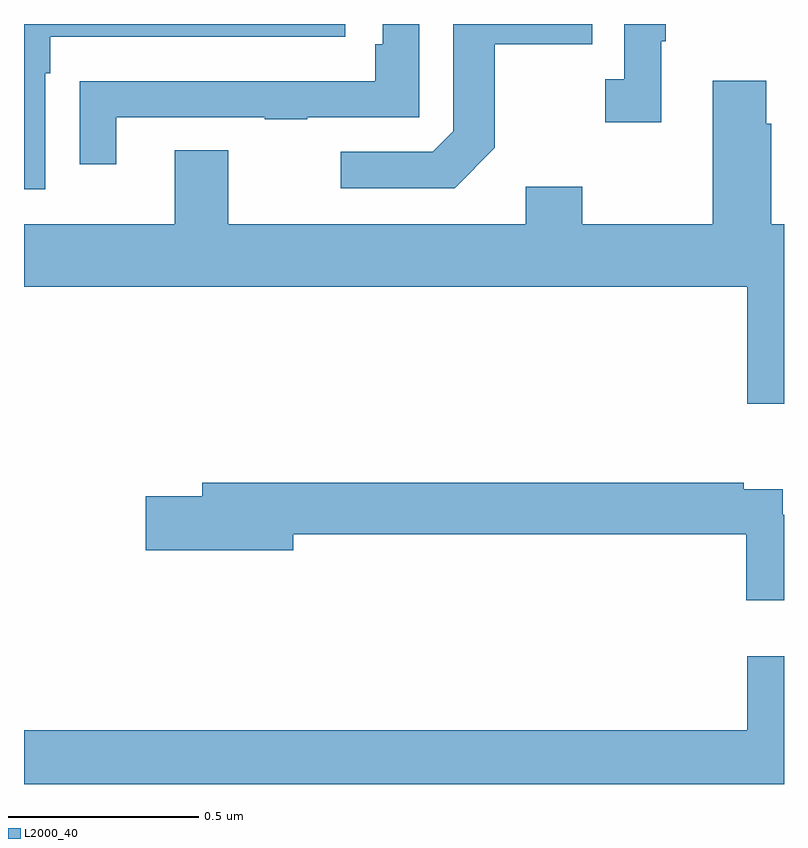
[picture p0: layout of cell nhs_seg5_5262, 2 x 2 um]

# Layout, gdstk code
import gdstk
lib = gdstk.Library(unit=1e-6, precision=1e-09)
def P(c, l, *ps):  # polygons
    for p in ps: c.add(gdstk.Polygon(p, *l))
L2000_40 = (2000, 40)

nhs_seg5_5262 = lib.new_cell('nhs_seg5_5262')
P(nhs_seg5_5262, L2000_40, [(182.239,842.473),(182.239,842.746),(182.495,842.746),(182.495,842.799),(182.13,842.799),(182.13,842.517),(182.076,842.463),(181.833,842.463),(181.833,842.367),(182.133,842.367)],
  [(181.243,842.553),(181.633,842.553),(181.633,842.548),(181.745,842.548),(181.745,842.553),(182.04,842.553),(182.04,842.799),(181.944,842.799),(181.944,842.746),(181.924,842.746),(181.924,842.649),(181.249,842.649),(181.249,842.648),(181.147,842.648),(181.147,842.43),(181.243,842.43)],
  [(181.056,842.669),(181.069,842.669),(181.069,842.766),(181.846,842.766),(181.846,842.799),(181,842.799),(181,842.364),(181.056,842.364)],
  [(182.677,842.753),(182.689,842.753),(182.689,842.799),(182.58,842.799),(182.58,842.654),(182.529,842.654),(182.529,842.541),(182.677,842.541)],
  [(183,842.272),(182.966,842.272),(182.966,842.537),(182.953,842.537),(182.953,842.65),(182.813,842.65),(182.813,842.272),(182.469,842.272),(182.469,842.371),(182.321,842.371),(182.321,842.272),(181.537,842.272),(181.537,842.467),(181.397,842.467),(181.397,842.272),(181,842.272),(181,842.108),(182.903,842.108),(182.903,841.8),(183,841.8)],
  [(183,841.507),(182.997,841.507),(182.997,841.575),(182.894,841.575),(182.894,841.592),(181.469,841.592),(181.469,841.556),(181.32,841.556),(181.32,841.414),(181.708,841.414),(181.708,841.456),(182.901,841.456),(182.901,841.283),(183,841.283)],
  [(183,841.135),(182.903,841.135),(182.903,840.94),(181,840.94),(181,840.799),(183,840.799)])

lib.write_gds('nhs_seg5_5262.gds')
